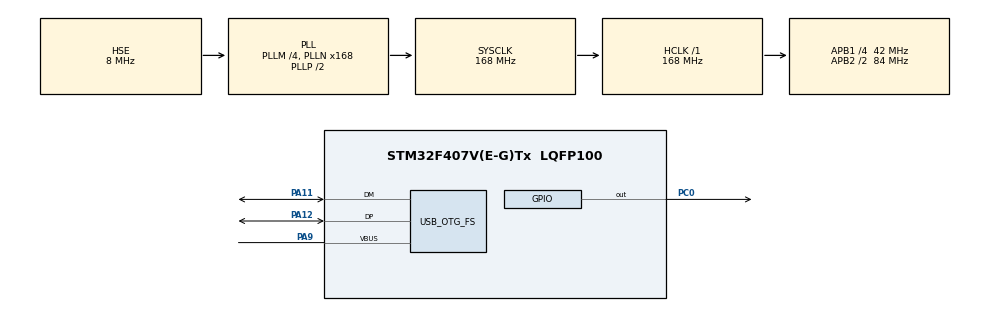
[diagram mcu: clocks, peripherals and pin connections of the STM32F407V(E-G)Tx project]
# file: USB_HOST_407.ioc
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Mcu.Family=STM32F4
Mcu.Name=STM32F407V(E-G)Tx
Mcu.Package=LQFP100
NVIC.OTG_FS_IRQn=true\:0\:0\:false\:false\:true\:false\:true\:true
NVIC.PriorityGroup=NVIC_PRIORITYGROUP_4
NVIC.TIM8_TRG_COM_TIM14_IRQn=true\:15\:0\:false\:false\:true\:false\:true\:true
NVIC.TimeBase=TIM8_TRG_COM_TIM14_IRQn
NVIC.TimeBaseIP=TIM14
PA11.Mode=Host_Only
PA11.Signal=USB_OTG_FS_DM
PA12.Mode=Host_Only
PA12.Signal=USB_OTG_FS_DP
PA13.Mode=Serial_Wire
PA13.Signal=SYS_JTMS-SWDIO
PA14.Mode=Serial_Wire
PA14.Signal=SYS_JTCK-SWCLK
PA9.Mode=Activate_VBUS
PA9.Signal=USB_OTG_FS_VBUS
PC0.Signal=GPIO_Output
PH0-OSC_IN.Mode=HSE-External-Oscillator
PH0-OSC_IN.Signal=RCC_OSC_IN
PH1-OSC_OUT.Mode=HSE-External-Oscillator
PH1-OSC_OUT.Signal=RCC_OSC_OUT
ProjectManager.HeapSize=0x200
ProjectManager.StackSize=0x400
ProjectManager.TargetToolchain=STM32CubeIDE
RCC.48MHZClocksFreq_Value=48000000
RCC.AHBFreq_Value=168000000
RCC.APB1CLKDivider=RCC_HCLK_DIV4
RCC.APB1Freq_Value=42000000
RCC.APB1TimFreq_Value=84000000
RCC.APB2CLKDivider=RCC_HCLK_DIV2
RCC.APB2Freq_Value=84000000
RCC.APB2TimFreq_Value=168000000
RCC.CortexFreq_Value=168000000
RCC.HCLKFreq_Value=168000000
RCC.HSE_VALUE=8000000
RCC.HSI_VALUE=16000000
RCC.LSE_VALUE=32768
RCC.PLLM=4
RCC.PLLN=168
RCC.PLLQ=7
RCC.SYSCLKFreq_VALUE=168000000
RCC.SYSCLKSource=RCC_SYSCLKSOURCE_PLLCLK
RCC.VCOOutputFreq_Value=336000000
USB_HOST.BSP.number=1
USB_HOST.USBH_HandleTypeDef-CDC_FS=hUsbHostFS
USB_HOST.VirtualModeFS=Cdc
USB_HOST0.BSP.STBoard=false
USB_HOST0.BSP.api=Unknown
USB_HOST0.BSP.instance=PC0
USB_HOST0.BSP.ip=GPIO
USB_HOST0.BSP.mode=Output
USB_HOST0.BSP.name=Drive_VBUS_FS
USB_HOST0.BSP.solution=PC0
USB_OTG_FS.VirtualMode=Host_Only
USB_OTG_FS.phy_itface=HCD_PHY_EMBEDDED
VP_SYS_VS_tim14.Mode=TIM14
VP_USB_HOST_VS_USB_HOST_CDC_FS.Mode=CDC_FS
board=custom

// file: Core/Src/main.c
/* USER CODE BEGIN Header */
/**
  ******************************************************************************
  * @file           : main.c
  * @brief          : Main program body
  ******************************************************************************
  * @attention
  *
  * Copyright (c) 2022 STMicroelectronics.
  * All rights reserved.
  *
  * This software is licensed under terms that can be found in the LICENSE file
  * in the root directory of this software component.
  * If no LICENSE file comes with this software, it is provided AS-IS.
  *
  ******************************************************************************
  */
/* USER CODE END Header */
#include "main.h"
#include "usb_host.h"

/* USER CODE BEGIN Includes */
#include "usbh_cdc.h"
/* USER CODE END Includes */

void SystemClock_Config(void);
static void MX_GPIO_Init(void);
void MX_USB_HOST_Process(void);

/* USER CODE BEGIN 0 */
extern USBH_HandleTypeDef hUsbHostFS;
extern ApplicationTypeDef Appli_state;
//extern USBH_StatusTypeDef usbresult;

#define RX_BUFF_SIZE   64  /* Max Received data 1KB */

uint8_t CDC_RX_Buffer[RX_BUFF_SIZE];
uint8_t CDC_TX_Buffer[RX_BUFF_SIZE];

typedef enum {
  CDC_STATE_IDLE = 0,
  //CDC_SEND,  // Это нам не нужно т.к. мы будем посылать данные когда HOST в простое.
  CDC_RECEIVE,
}CDC_StateTypedef;

CDC_StateTypedef CDC_STATE = CDC_STATE_IDLE;

uint8_t i=0;
void CDC_HANDLE (void) // Этот CDC_HANDLE будет перелключаться межлу различными режимами.
{
	switch (CDC_STATE)
	{
	case CDC_STATE_IDLE: // Если CDC_STATE_IDLE то,
	{
		  USBH_CDC_Stop(&hUsbHostFS); // Останавливаем USBH_CDC_Stop и
		  int len = sprintf ((char *)CDC_TX_Buffer, "DATA = %d", i); // копируем данные в CDC_TX_Buffer
		  if (USBH_CDC_Transmit (&hUsbHostFS, CDC_TX_Buffer, len) == USBH_OK) // и отпавляем
		  {
			  CDC_STATE = CDC_RECEIVE; // Если передача удачная то, статус меняем на CDC_RECEIVE
		  }
		  i++;
		  break;
	}

	case CDC_RECEIVE: // В этом режиме HOST получает данные и сохраняе в CDC_RX_Buffer
	{
		  USBH_CDC_Stop(&hUsbHostFS);
		  USBH_CDC_Receive(&hUsbHostFS, (uint8_t *) CDC_RX_Buffer, RX_BUFF_SIZE);
		  HAL_Delay (1000); // После паузы
		  CDC_STATE = CDC_IDLE; // Переключаем статус на CDC_IDLE
		  break;//??????????????????
	}

	default:
		  break;
	}
}
/* USER CODE END 0 */

int main(void)
{

  /* MCU Configuration--------------------------------------------------------*/

  /* Reset of all peripherals, Initializes the Flash interface and the Systick. */
  HAL_Init();

  /* Configure the system clock */
  SystemClock_Config();

  /* Initialize all configured peripherals */
  MX_GPIO_Init();
  MX_USB_HOST_Init();

  /* Infinite loop */
  while (1)
  {
    MX_USB_HOST_Process();

    /* USER CODE BEGIN 3 */
    if (Appli_state == APPLICATION_READY) // Проверка, готов ли HOST к передаче
    {
    	CDC_HANDLE(); // Если готов то...
    }
  }
  /* USER CODE END 3 */
}

void SystemClock_Config(void)
{
  RCC_OscInitTypeDef RCC_OscInitStruct = {0};
  RCC_ClkInitTypeDef RCC_ClkInitStruct = {0};

  /** Configure the main internal regulator output voltage
  */
  __HAL_RCC_PWR_CLK_ENABLE();
  __HAL_PWR_VOLTAGESCALING_CONFIG(PWR_REGULATOR_VOLTAGE_SCALE1);

  /** Initializes the RCC Oscillators according to the specified parameters
  * in the RCC_OscInitTypeDef structure.
  */
  RCC_OscInitStruct.OscillatorType = RCC_OSCILLATORTYPE_HSE;
  RCC_OscInitStruct.HSEState = RCC_HSE_ON;
  RCC_OscInitStruct.PLL.PLLState = RCC_PLL_ON;
  RCC_OscInitStruct.PLL.PLLSource = RCC_PLLSOURCE_HSE;
  RCC_OscInitStruct.PLL.PLLM = 4;
  RCC_OscInitStruct.PLL.PLLN = 168;
  RCC_OscInitStruct.PLL.PLLP = RCC_PLLP_DIV2;
  RCC_OscInitStruct.PLL.PLLQ = 7;
  if (HAL_RCC_OscConfig(&RCC_OscInitStruct) != HAL_OK)
  {
    Error_Handler();
  }

  /** Initializes the CPU, AHB and APB buses clocks
  */
  RCC_ClkInitStruct.ClockType = RCC_CLOCKTYPE_HCLK|RCC_CLOCKTYPE_SYSCLK
                              |RCC_CLOCKTYPE_PCLK1|RCC_CLOCKTYPE_PCLK2;
  RCC_ClkInitStruct.SYSCLKSource = RCC_SYSCLKSOURCE_PLLCLK;
  RCC_ClkInitStruct.AHBCLKDivider = RCC_SYSCLK_DIV1;
  RCC_ClkInitStruct.APB1CLKDivider = RCC_HCLK_DIV4;
  RCC_ClkInitStruct.APB2CLKDivider = RCC_HCLK_DIV2;

  if (HAL_RCC_ClockConfig(&RCC_ClkInitStruct, FLASH_LATENCY_5) != HAL_OK)
  {
    Error_Handler();
  }
}

static void MX_GPIO_Init(void)
{
  GPIO_InitTypeDef GPIO_InitStruct = {0};

  /* GPIO Ports Clock Enable */
  __HAL_RCC_GPIOH_CLK_ENABLE();
  __HAL_RCC_GPIOC_CLK_ENABLE();
  __HAL_RCC_GPIOA_CLK_ENABLE();

  /*Configure GPIO pin Output Level */
  HAL_GPIO_WritePin(GPIOC, GPIO_PIN_0, GPIO_PIN_RESET);

  /*Configure GPIO pin : PC0 */
  GPIO_InitStruct.Pin = GPIO_PIN_0;
  GPIO_InitStruct.Mode = GPIO_MODE_OUTPUT_PP;
  GPIO_InitStruct.Pull = GPIO_NOPULL;
  GPIO_InitStruct.Speed = GPIO_SPEED_FREQ_LOW;
  HAL_GPIO_Init(GPIOC, &GPIO_InitStruct);

}

void HAL_TIM_PeriodElapsedCallback(TIM_HandleTypeDef *htim)
{
  if (htim->Instance == TIM14) {
    HAL_IncTick();
  }
}

void Error_Handler(void)
{
  __disable_irq();
  while (1)
  {
  }
}
